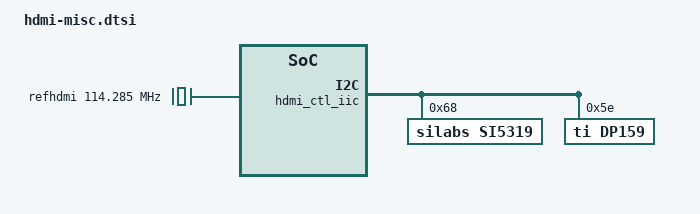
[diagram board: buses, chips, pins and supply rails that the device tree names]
&amba {
			/* 114.285MHz reference crystal for Si5319 clock for HDMI */
	refhdmi: refhdmi {
		compatible = "fixed-clock";
		#clock-cells = <0>;
		clock-frequency = <114285000>;
	};

	hdmi_ctl_iic: i2c@a0050000 {
		#address-cells = <1>;
		#size-cells = <0>;
		status = "okay";
		compatible = "xlnx,xps-iic-2.00.a";
		interrupt-parent = <&gic>;
		interrupts = <0 94 4>;
		reg = <0x0 0xa0050000 0x0 0x1000>;
		clocks = <&vid_s_axi_clk>;
			/* Si5319 i2c clock generator */
		si5319: clock-generator@68 {
			status = "okay";
			compatible = "silabs,si5319";
			reg = <0x68>;
			#address-cells = <1>;
			#size-cells = <0>;
			#clock-cells = <1>;

				/* input clock(s); the XTAL is hard-wired on the ZCU102 board */
			clocks = <&refhdmi>;
			clock-names = "xtal";

			/* output clocks */
			clk0 {
				reg = <0>;
				/* HDMI TX reference clock output frequency */
				clock-frequency = <27000000>;
			};
		};

		/* DP159 exposes a virtual CCF clock. Upon .set_rate(), it adapts its retiming/driving behaviour */
		dp159: hdmi-retimer@5e {
			status = "okay";
			compatible = "ti,dp159";
			reg = <0x5e>;
			#address-cells = <1>;
			#size-cells = <0>;
			#clock-cells = <0>;
		};
	};

};
